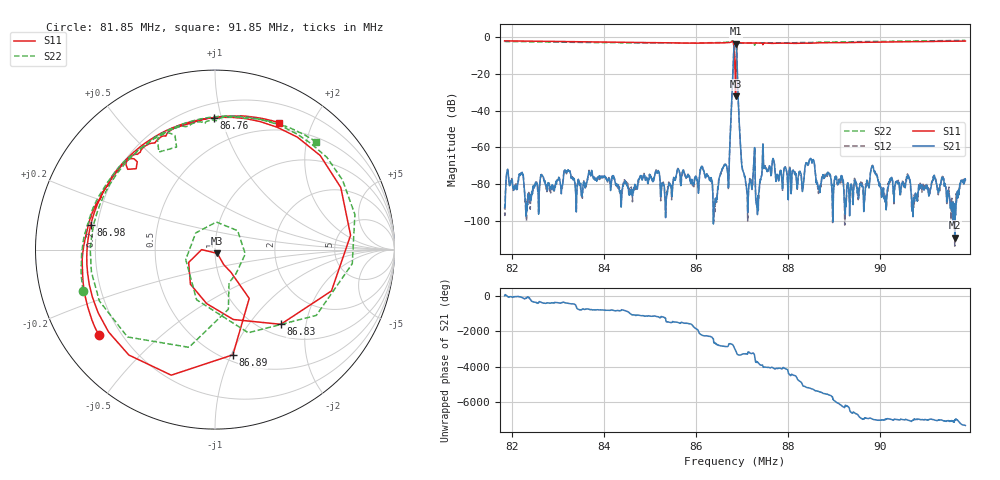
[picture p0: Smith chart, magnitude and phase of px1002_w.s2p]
!Keysight Technologies,E5080A,MY55200989,A.11.70.00
!Date: Monday, July 01, 2019 10:02:36
!Correction: S11(Full 2 Port(1,2))
!S21(Full 2 Port(1,2))
!S12(Full 2 Port(1,2))
!S22(Full 2 Port(1,2))
!S2P File: Measurements: S11, S21, S12, S22:
# Hz S  dB  R 50
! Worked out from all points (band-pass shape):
!   1601 points, 81.85 MHz to 91.85 MHz, reference 50 ohm
!   highest |S21| = -3.44 dB at 86.86 MHz (marker M1); lowest = -109.3 dB at 91.62 MHz (marker M2)
!   |S21| within 3 dB of the highest: 86.8248 MHz to 86.88443 MHz (59.63 kHz wide, 0.0687 % of centre)
!   lowest |S11| = -32.2 dB at 86.86 MHz (marker M3), VSWR 1.05, Z = 51.2 - j2.16 ohm
!   |S11| at or under -10 dB: 86.83664 MHz to 86.88085 MHz (44.22 kHz wide, 0.0509 % of centre)
!   |S22| runs from -17.0 to -1.7 dB; largest |S21 - S12| = 0.0031
!   S11 on the Smith chart (normalised r, x): 81.85 MHz: 0.12, -0.32; 86.76 MHz: 0.30, +0.94; 86.83 MHz: 1.21, -1.45; 86.89 MHz: 0.56, -1.02; 86.98 MHz: 0.17, +0.09; 91.85 MHz: 0.41, +1.54
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8.185e7  -1.91 -143.7  -93.16 3.6  -95.85 -74.5  -2.26 -162.8
8.351875e7  -2.42 -166.0  -86.56 -65.7  -87.10 -57.8  -2.78 171.0
8.51875e7  -2.92 165.7  -72.94 -98.8  -72.88 -98.6  -3.04 140.2
8.61375e7  -3.07 146.0  -70.53 -58.2  -70.50 -57.3  -3.02 120.3
8.64375e7  -3.03 135.4  -90.07 -156.2  -88.05 -170.8  -2.90 110.4
8.668125e7  -2.92 114.7  -71.87 21.1  -72.41 22.7  -2.64 92.1
8.675625e7  -2.68 90.6  -47.80 -176.7  -47.78 -176.8  -2.30 71.5
8.6825e7  -5.12 -48.6  -6.34 12.5  -6.33 12.5  -6.03 -68.2
8.685e7  -15.74 -154.0  -3.76 -127.6  -3.76 -127.6  -16.26 87.1
8.68625e7  -32.18 -58.9  -3.44 170.1  -3.44 170.2  -15.37 -8.3
8.68875e7  -4.52 -80.4  -7.85 8.9  -7.85 8.8  -4.98 -104.9
8.698125e7  -3.02 168.9  -64.45 -82.9  -64.25 -81.5  -3.20 140.7
8.7125e7  -3.10 148.9  -95.62 -25.0  -100.28 -43.5  -3.07 121.6
8.74875e7  -3.13 134.2  -70.50 -49.0  -69.97 -48.4  -2.94 107.3
8.83125e7  -3.15 115.9  -84.17 30.5  -81.88 15.2  -2.85 91.7
8.851875e7  -3.16 112.8  -68.69 155.9  -68.03 155.1  -2.81 88.8
8.866875e7  -2.97 109.8  -82.89 9.7  -81.88 1.2  -2.63 86.4
8.971875e7  -2.68 91.9  -78.59 -68.3  -79.93 -75.0  -2.29 70.9
8.984375e7  -2.64 90.1  -70.72 -120.4  -70.86 -121.4  -2.27 69.2
9.01875e7  -2.54 84.8  -78.87 -103.4  -79.85 -102.0  -2.16 64.9
9.161875e7  -2.09 66.0  -109.28 -154.6  -113.99 25.5  -1.76 49.2
9.185e7  -2.03 63.3  -77.72 -106.9  -78.07 -106.5  -1.70 46.9
